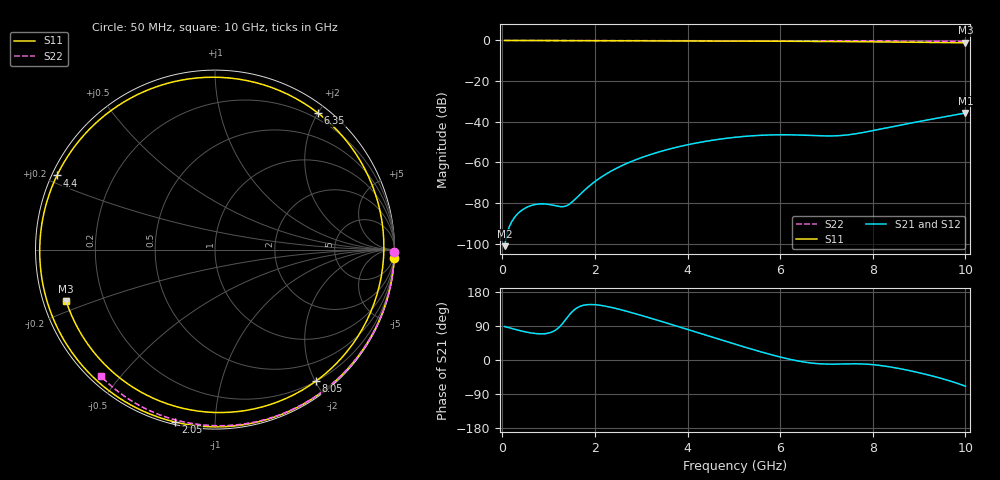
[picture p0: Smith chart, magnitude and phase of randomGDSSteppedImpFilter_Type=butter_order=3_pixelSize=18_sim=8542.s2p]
! freq	dB(S11)	phase(S11)	dB(S12)	phase(S12)
!  dB(S21)	phase(S21)	dB(S22)	phase(S22)
!S-par simulation data
#  GHz  S  DB  R 50
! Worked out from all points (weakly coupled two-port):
!   200 points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, 50 MHz to 10 GHz, reference 50 ohm
!   highest |S21| = -35.69 dB at 10 GHz (marker M1); lowest = -101.2 dB at 50 MHz (marker M2)
!   lowest |S11| = -1.1 dB at 10 GHz (marker M3), VSWR 15.33, Z = 3.35 - j8.43 ohm
!   |S11| at or under -10 dB: nowhere
!   |S22| runs from -0.4 to 0.0 dB; largest |S21 - S12| = 0
!   S11 on the Smith chart (normalised r, x): 50 MHz: 0, -42; 2.05 GHz: 0.01, -0.80; 4.4 GHz: 0.01, +0.22; 6.35 GHz: 0.12, +2.00; 8.05 GHz: 0.20, -2.01; 10 GHz: 0.07, -0.17
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0.05  -0.00 -2.7  -101.16 88.4  -101.16 88.4  -0.00 -0.8
0.65  -0.04 -34.5  -81.00 70.9  -81.00 70.9  -0.01 -9.9
1.05  -0.07 -55.0  -80.80 72.8  -80.80 72.8  -0.02 -15.9
1.45  -0.09 -74.8  -80.48 119.5  -80.48 119.5  -0.03 -21.9
1.75  -0.11 -89.1  -74.17 144.4  -74.17 144.4  -0.03 -26.3
2.05  -0.12 -102.9  -68.55 145.4  -68.55 145.4  -0.04 -30.7
2.75  -0.15 -133.8  -59.87 126.5  -59.87 126.5  -0.05 -40.9
3.4  -0.18 -161.6  -54.70 103.2  -54.70 103.2  -0.07 -50.1
3.9  -0.21 177.0  -51.80 84.4  -51.80 84.4  -0.08 -57.0
4.4  -0.24 154.9  -49.57 65.4  -49.57 65.4  -0.09 -63.8
5.05  -0.29 124.2  -47.56 40.8  -47.56 40.8  -0.11 -72.5
5.75  -0.36 87.6  -46.48 15.9  -46.48 15.9  -0.14 -81.5
6.35  -0.42 52.9  -46.47 -1.7  -46.47 -1.7  -0.16 -89.1
6.7  -0.46 31.5  -46.76 -8.4  -46.76 -8.4  -0.18 -93.4
7.05  -0.51 9.6  -46.95 -11.0  -46.95 -11.0  -0.20 -97.7
7.35  -0.55 -9.3  -46.67 -10.5  -46.67 -10.5  -0.22 -101.3
8.05  -0.69 -52.5  -44.11 -12.9  -44.11 -12.9  -0.26 -109.6
8.35  -0.76 -70.2  -42.71 -17.8  -42.71 -17.8  -0.29 -113.1
8.7  -0.84 -90.3  -41.14 -25.6  -41.14 -25.6  -0.32 -117.1
9.1  -0.95 -112.5  -39.43 -36.5  -39.43 -36.5  -0.35 -121.7
9.55  -1.05 -136.8  -37.55 -51.0  -37.55 -51.0  -0.40 -126.9
10  -1.13 -160.8  -35.69 -69.1  -35.69 -69.1  -0.45 -132.0
